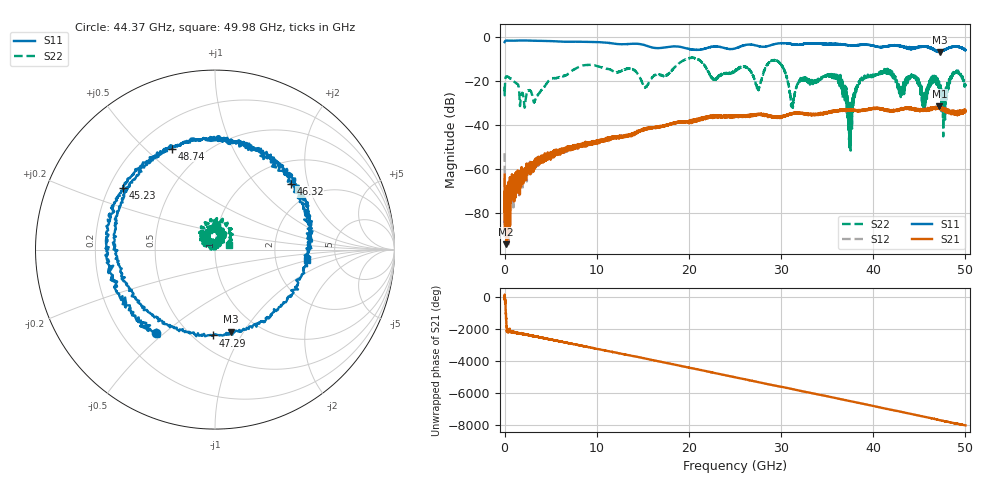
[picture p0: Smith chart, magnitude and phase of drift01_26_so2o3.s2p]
!Created with skrf (http://scikit-rf.org).
# Hz S RI R 50.0
!freq ReS11 ImS11 ReS21 ImS21 ReS12 ImS12 ReS22 ImS22
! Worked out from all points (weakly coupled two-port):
!   10001 points, 300 kHz to 50 GHz, reference 50 ohm
!   highest |S21| = -31.38 dB at 47.18 GHz (marker M1); lowest = -94.2 dB at 180.3 MHz (marker M2)
!   lowest |S11| = -6.7 dB at 47.2 GHz (marker M3), VSWR 2.74, Z = 37.8 - j44 ohm
!   |S11| at or under -10 dB: nowhere
!   |S22| runs from -51.5 to -9.2 dB; largest |S21 - S12| = 0.0037
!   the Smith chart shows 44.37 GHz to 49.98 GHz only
!   S11 on the Smith chart (normalised r, x): 44.37 GHz: 0.34, -0.47; 45.23 GHz: 0.26, +0.29; 46.32 GHz: 1.46, +1.56; 47.29 GHz: 0.62, -0.76; 48.74 GHz: 0.34, +0.61; 49.98 GHz: 3.02, -0.47
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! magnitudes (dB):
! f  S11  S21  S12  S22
! 300 kHz  -2.1  -62.5  -52.7  -22.4
! 180.3 MHz  -1.4  -94.2  -77.1  -17.7
! 3.29 GHz  -1.5  -59.2  -57.3  -28.8
! 8.335 GHz  -1.9  -49.0  -49.4  -12.9
! 16.67 GHz  -4.8  -40.9  -40.8  -16.7
! 25 GHz  -5.0  -35.8  -35.8  -15.4
! 29.59 GHz  -2.8  -36.4  -36.0  -10.7
! 31.23 GHz  -3.1  -34.6  -34.7  -30.9
! 33.34 GHz  -2.6  -35.4  -34.9  -20.3
! 36.2 GHz  -3.1  -33.5  -33.2  -20.7
! 37.47 GHz  -3.6  -33.0  -33.1  -34.1
! 38.65 GHz  -3.4  -33.4  -33.3  -19.9
! 41.67 GHz  -3.9  -33.0  -33.1  -15.4
! 44.37 GHz  -4.9  -32.4  -32.6  -17.2
! 45.23 GHz  -4.2  -33.1  -33.2  -23.9
! 46.32 GHz  -5.1  -33.1  -32.4  -20.1
! 47.18 GHz  -6.4  -31.4  -32.4  -21.7
! 47.2 GHz  -6.7  -32.0  -32.1  -23.8
! 47.29 GHz  -6.4  -32.3  -32.4  -22.9
! 48.74 GHz  -4.3  -34.4  -34.0  -15.8
! 49.98 GHz  -5.8  -33.7  -33.3  -21.8
! 50 GHz  -5.7  -33.6  -34.0  -21.7
